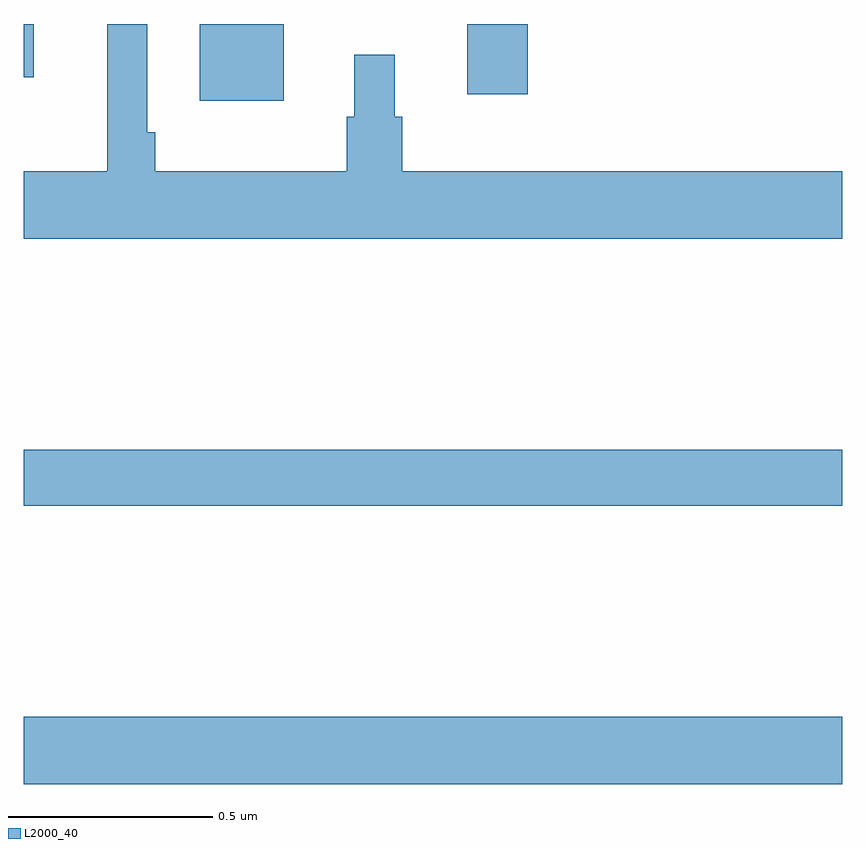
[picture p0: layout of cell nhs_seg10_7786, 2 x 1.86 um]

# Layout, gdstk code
import gdstk
lib = gdstk.Library(unit=1e-6, precision=1e-09)
def R(c, l, rs):  # rectangles x0, y0, x1, y1
    for r in rs: c.add(gdstk.rectangle(r[:2], r[2:], *l))
def P(c, l, *ps):  # polygons
    for p in ps: c.add(gdstk.Polygon(p, *l))
L2000_40 = (2000, 40)

nhs_seg10_7786 = lib.new_cell('nhs_seg10_7786')
R(nhs_seg10_7786, L2000_40, [(208,1305.644,210,1305.808), (208,1306.324,210,1306.46), (208.43,1307.312,208.636,1307.5), (209.084,1307.328,209.231,1307.5), (208,1307.37,208.025,1307.5)])
P(nhs_seg10_7786, L2000_40, [(210,1307.14),(208.925,1307.14),(208.925,1307.274),(208.906,1307.274),(208.906,1307.425),(208.808,1307.425),(208.808,1307.274),(208.789,1307.274),(208.789,1307.14),(208.322,1307.14),(208.322,1307.236),(208.302,1307.236),(208.302,1307.5),(208.205,1307.5),(208.205,1307.14),(208,1307.14),(208,1306.976),(210,1306.976)])

lib.write_gds('nhs_seg10_7786.gds')
